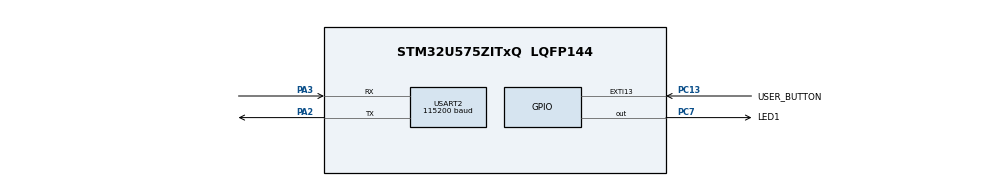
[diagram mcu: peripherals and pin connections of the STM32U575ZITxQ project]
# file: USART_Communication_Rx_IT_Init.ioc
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CORTEX_M33_NS.userName=CORTEX_M33
Mcu.Family=STM32U5
Mcu.Name=STM32U575ZITxQ
Mcu.Package=LQFP144
NVIC.EXTI13_IRQn=true\:3\:0\:true\:false\:true\:true\:true\:true
NVIC.PriorityGroup=NVIC_PRIORITYGROUP_4
NVIC.USART2_IRQn=true\:0\:0\:false\:false\:true\:true\:true\:true
PA2.GPIO_PuPd=GPIO_NOPULL
PA2.GPIO_Speed=GPIO_SPEED_FREQ_HIGH
PA2.Mode=Asynchronous
PA2.Signal=USART2_TX
PA3.GPIO_PuPd=GPIO_NOPULL
PA3.GPIO_Speed=GPIO_SPEED_FREQ_HIGH
PA3.Mode=Asynchronous
PA3.Signal=USART2_RX
PC13.GPIO_Label=USER_BUTTON
PC13.GPIO_ModeDefaultEXTI=GPIO_MODE_IT_FALLING
PC13.GPIO_PuPd=GPIO_NOPULL
PC13.Signal=GPXTI13
PC7.GPIO_Label=LED1
PC7.GPIO_PuPd=GPIO_NOPULL
PC7.Signal=GPIO_Output
PWR.PowerMode=PWR_SMPS_SUPPLY
ProjectManager.HeapSize=0x200
ProjectManager.StackSize=0x400
ProjectManager.TargetToolchain=EWARM V8.50
RCC.ADCFreq_Value=16000000
RCC.AHBFreq_Value=160000000
RCC.APB1Freq_Value=160000000
RCC.APB1TimFreq_Value=160000000
RCC.APB2Freq_Value=160000000
RCC.APB2TimFreq_Value=160000000
RCC.APB3Freq_Value=160000000
RCC.CortexFreq_Value=160000000
RCC.DACCLockSelectionVirtual=RCC_DAC1CLKSOURCE_LSI
RCC.DACCLockSelectionVirtualString=RCC_DAC1CLKSOURCE_LSI
RCC.EPOD_VALUE=4000000
RCC.HCLKFreq_Value=160000000
RCC.HSE_VALUE=16000000
RCC.HSI48_VALUE=48000000
RCC.HSI_VALUE=16000000
RCC.LSE_VALUE=32768
RCC.LSIDIV_VALUE=32000
RCC.MSI_VALUE=4000000
RCC.PLLN=80
RCC.SYSCLKFreq_VALUE=160000000
RCC.SYSCLKSource=RCC_SYSCLKSOURCE_PLLCLK
RCC.USBFreq_Value=48000000
RCC.VCOOutputFreq_Value=320000000
USART2.AutoBaudRateEnableParam=UART_ADVFEATURE_AUTOBAUDRATE_DISABLE
USART2.BaudRate=115200
USART2.ClockPrescaler=PRESCALER_DIV1
USART2.DMADisableonRxErrorParam=ADVFEATURE_DMA_ENABLEONRXERROR
USART2.DataInvertParam=ADVFEATURE_DATAINV_DISABLE
USART2.FIFOMode=FIFOMODE_DISABLE
USART2.MSBFirstParam=ADVFEATURE_MSBFIRST_DISABLE
USART2.Mode=MODE_TX_RX
USART2.OneBitSampling=UART_ONE_BIT_SAMPLE_DISABLE
USART2.OverSampling=UART_OVERSAMPLING_16
USART2.OverrunDisableParam=ADVFEATURE_OVERRUN_ENABLE
USART2.Parity=PARITY_NONE
USART2.RXFIFOThreshold=RXFIFO_THRESHOLD_1EIGHTHFULL
USART2.RxPinLevelInvertParam=ADVFEATURE_RXINV_DISABLE
USART2.StopBits=STOPBITS_1
USART2.SwapParam=ADVFEATURE_SWAP_DISABLE
USART2.TXFIFOThreshold=TXFIFO_THRESHOLD_1EIGHTHFULL
USART2.TxPinLevelInvertParam=ADVFEATURE_TXINV_DISABLE
USART2.VirtualMode-Asynchronous=VM_ASYNC
USART2.WordLength=WORDLENGTH_8B
VP_ICACHE_VS_ICACHE.Mode=DirectMappedCache
VP_LPBAMQUEUE_VS_QUEUE.Mode=QUEUEMODE
VP_LPBAM_VS_SIG1.Mode=SmartRun
VP_LPBAM_VS_SIG4.Mode=LPDMA1
VP_PWR_VS_DBSignals.Mode=DisableDeadBatterySignals
VP_PWR_VS_LPOM.Mode=PowerOptimisation
VP_PWR_VS_SECSignals.Mode=Security/Privilege
board=custom

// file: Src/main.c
/* USER CODE BEGIN Header */
/**
  ******************************************************************************
  * @file    Examples_LL/USART/USART_Communication_Rx_IT_Init/Src/main.c
  * @author  MCD Application Team
  * @brief   This example describes how to send bytes over USART IP using
  *          the STM32U5xx USART LL API.
  *          Peripheral initialization done using LL initialization function.
  ******************************************************************************
  * @attention
  *
  * Copyright (c) 2021 STMicroelectronics.
  * All rights reserved.
  *
  * This software is licensed under terms that can be found in the LICENSE file
  * in the root directory of this software component.
  * If no LICENSE file comes with this software, it is provided AS-IS.
  *
  ******************************************************************************
  */
/* USER CODE END Header */
#include "main.h"

void SystemClock_Config(void);
static void SystemPower_Config(void);
static void MX_GPIO_Init(void);
static void MX_ICACHE_Init(void);
static void MX_USART2_UART_Init(void);
/* USER CODE BEGIN PFP */
void     LED_On(void);
void     LED_Off(void);
void     LED_Blinking(uint32_t Period);
/* USER CODE END PFP */

int main(void)
{

  /* MCU Configuration--------------------------------------------------------*/

  /* Reset of all peripherals, Initializes the Flash interface and the Systick. */

  /* System interrupt init*/
  NVIC_SetPriorityGrouping(NVIC_PRIORITYGROUP_4);

  /* Enable PWR clock interface */

  LL_AHB3_GRP1_EnableClock(LL_AHB3_GRP1_PERIPH_PWR);

  /* Configure the System Power */
  SystemPower_Config();

  /* Configure the system clock */
  SystemClock_Config();

  /* Initialize all configured peripherals */
  MX_GPIO_Init();
  MX_ICACHE_Init();
  MX_USART2_UART_Init();
  /* USER CODE BEGIN 2 */
  /* Polling USART initialisation */
  while ((!(LL_USART_IsActiveFlag_TEACK(USART2))) || (!(LL_USART_IsActiveFlag_REACK(USART2))))
  {
  }
  /* Enable RXNE and Error interrupts */
  LL_USART_EnableIT_RXNE(USART2);
  LL_USART_EnableIT_ERROR(USART2);

  /* Set LED1 Off */
  LED_Off();

  /* USER CODE END 2 */

  /* Infinite loop */
  while (1)
  {

  }
}

void SystemClock_Config(void)
{
  LL_FLASH_SetLatency(LL_FLASH_LATENCY_4);
  while(LL_FLASH_GetLatency()!= LL_FLASH_LATENCY_4)
  {
  }

  LL_PWR_SetRegulVoltageScaling(LL_PWR_REGU_VOLTAGE_SCALE1);
  while (LL_PWR_IsActiveFlag_VOS() == 0)
  {
  }
  LL_RCC_MSIS_Enable();

   /* Wait till MSIS is ready */
  while(LL_RCC_MSIS_IsReady() != 1)
  {
  }

  LL_RCC_MSI_EnableRangeSelection();
  LL_RCC_MSIS_SetRange(LL_RCC_MSISRANGE_4);
  LL_RCC_MSI_SetCalibTrimming(16, LL_RCC_MSI_OSCILLATOR_1);
  LL_RCC_PLL1_ConfigDomain_SYS(LL_RCC_PLL1SOURCE_MSIS, 1, 80, 2);
  LL_RCC_PLL1_EnableDomain_SYS();
  LL_RCC_SetPll1EPodPrescaler(LL_RCC_PLL1MBOOST_DIV_1);
  LL_RCC_PLL1_SetVCOInputRange(LL_RCC_PLLINPUTRANGE_4_8);
  LL_RCC_PLL1_Enable();

   /* Wait till PLL is ready */
  while(LL_RCC_PLL1_IsReady() != 1)
  {
  }

   /* Intermediate AHB prescaler 2 when target frequency clock is higher than 80 MHz */
  LL_RCC_SetAHBPrescaler(LL_RCC_SYSCLK_DIV_2);

  LL_RCC_SetSysClkSource(LL_RCC_SYS_CLKSOURCE_PLL1);

   /* Wait till System clock is ready */
  while(LL_RCC_GetSysClkSource() != LL_RCC_SYS_CLKSOURCE_STATUS_PLL1)
  {
  }

  /* Insure 1us transition state at intermediate medium speed clock*/
  for (__IO uint32_t i = (160 >> 1); i !=0; i--);

  LL_RCC_SetAHBPrescaler(LL_RCC_SYSCLK_DIV_1);
  LL_RCC_SetAPB1Prescaler(LL_RCC_APB1_DIV_1);
  LL_RCC_SetAPB2Prescaler(LL_RCC_APB2_DIV_1);
  LL_RCC_SetAPB3Prescaler(LL_RCC_APB3_DIV_1);

  LL_Init1msTick(160000000);

  LL_SetSystemCoreClock(160000000);
}

/**
  * @brief Power Configuration
  * @retval None
  */
static void SystemPower_Config(void)
{

  /*
   * Disable the internal Pull-Up in Dead Battery pins of UCPD peripheral
   */
  LL_PWR_DisableUCPDDeadBattery();

  /*
   * Switch to SMPS regulator instead of LDO
   */
  LL_PWR_SetRegulatorSupply(LL_PWR_SMPS_SUPPLY);

  while(LL_PWR_IsActiveFlag_REGULATOR()!=1)
  {
  }
}

static void MX_ICACHE_Init(void)
{

  /** Enable instruction cache in 1-way (direct mapped cache)
  */
  LL_ICACHE_SetMode(LL_ICACHE_1WAY);
  LL_ICACHE_Enable();

}

static void MX_USART2_UART_Init(void)
{

  LL_USART_InitTypeDef USART_InitStruct = {0};

  LL_GPIO_InitTypeDef GPIO_InitStruct = {0};

  LL_RCC_SetUSARTClockSource(LL_RCC_USART2_CLKSOURCE_PCLK1);

  /* Peripheral clock enable */
  LL_APB1_GRP1_EnableClock(LL_APB1_GRP1_PERIPH_USART2);

  LL_AHB2_GRP1_EnableClock(LL_AHB2_GRP1_PERIPH_GPIOA);
  /**USART2 GPIO Configuration
  PA2   ------> USART2_TX
  PA3   ------> USART2_RX
  */
  GPIO_InitStruct.Pin = LL_GPIO_PIN_2|LL_GPIO_PIN_3;
  GPIO_InitStruct.Mode = LL_GPIO_MODE_ALTERNATE;
  GPIO_InitStruct.Speed = LL_GPIO_SPEED_FREQ_HIGH;
  GPIO_InitStruct.OutputType = LL_GPIO_OUTPUT_PUSHPULL;
  GPIO_InitStruct.Pull = LL_GPIO_PULL_NO;
  GPIO_InitStruct.Alternate = LL_GPIO_AF_7;
  LL_GPIO_Init(GPIOA, &GPIO_InitStruct);

  /* USART2 interrupt Init */
  NVIC_SetPriority(USART2_IRQn, NVIC_EncodePriority(NVIC_GetPriorityGrouping(),0, 0));
  NVIC_EnableIRQ(USART2_IRQn);

  USART_InitStruct.PrescalerValue = LL_USART_PRESCALER_DIV1;
  USART_InitStruct.BaudRate = 115200;
  USART_InitStruct.DataWidth = LL_USART_DATAWIDTH_8B;
  USART_InitStruct.StopBits = LL_USART_STOPBITS_1;
  USART_InitStruct.Parity = LL_USART_PARITY_NONE;
  USART_InitStruct.TransferDirection = LL_USART_DIRECTION_TX_RX;
  USART_InitStruct.HardwareFlowControl = LL_USART_HWCONTROL_NONE;
  USART_InitStruct.OverSampling = LL_USART_OVERSAMPLING_16;
  LL_USART_Init(USART2, &USART_InitStruct);
  LL_USART_SetTXFIFOThreshold(USART2, LL_USART_FIFOTHRESHOLD_1_8);
  LL_USART_SetRXFIFOThreshold(USART2, LL_USART_FIFOTHRESHOLD_1_8);
  LL_USART_DisableFIFO(USART2);
  LL_USART_ConfigAsyncMode(USART2);
  LL_USART_Enable(USART2);

}

static void MX_GPIO_Init(void)
{
  LL_EXTI_InitTypeDef EXTI_InitStruct = {0};
  LL_GPIO_InitTypeDef GPIO_InitStruct = {0};

  /* GPIO Ports Clock Enable */
  LL_AHB2_GRP1_EnableClock(LL_AHB2_GRP1_PERIPH_GPIOC);
  LL_AHB2_GRP1_EnableClock(LL_AHB2_GRP1_PERIPH_GPIOA);

  /**/
  LL_GPIO_ResetOutputPin(LED1_GPIO_Port, LED1_Pin);

  /**/
  LL_EXTI_SetEXTISource(LL_EXTI_EXTI_PORTC, LL_EXTI_EXTI_LINE13);

  /**/
  EXTI_InitStruct.Line_0_31 = LL_EXTI_LINE_13;
  EXTI_InitStruct.LineCommand = ENABLE;
  EXTI_InitStruct.Mode = LL_EXTI_MODE_IT;
  EXTI_InitStruct.Trigger = LL_EXTI_TRIGGER_FALLING;
  LL_EXTI_Init(&EXTI_InitStruct);

  /**/
  LL_GPIO_SetPinPull(USER_BUTTON_GPIO_Port, USER_BUTTON_Pin, LL_GPIO_PULL_NO);

  /**/
  LL_GPIO_SetPinMode(USER_BUTTON_GPIO_Port, USER_BUTTON_Pin, LL_GPIO_MODE_INPUT);

  /**/
  GPIO_InitStruct.Pin = LED1_Pin;
  GPIO_InitStruct.Mode = LL_GPIO_MODE_OUTPUT;
  GPIO_InitStruct.Speed = LL_GPIO_SPEED_FREQ_LOW;
  GPIO_InitStruct.OutputType = LL_GPIO_OUTPUT_PUSHPULL;
  GPIO_InitStruct.Pull = LL_GPIO_PULL_NO;
  LL_GPIO_Init(LED1_GPIO_Port, &GPIO_InitStruct);

  /* EXTI interrupt init*/
  NVIC_SetPriority(EXTI13_IRQn, NVIC_EncodePriority(NVIC_GetPriorityGrouping(),3, 0));
  NVIC_EnableIRQ(EXTI13_IRQn);

}

/* USER CODE BEGIN 4 */

/**
  * @brief  Turn-on LED1.
  * @param  None
  * @retval None
  */
void LED_On(void)
{
  /* Turn LED1 on */
  LL_GPIO_SetOutputPin(LED1_GPIO_Port, LED1_Pin);
}

/**
  * @brief  Turn-off LED1.
  * @param  None
  * @retval None
  */
void LED_Off(void)
{
  /* Turn LED1 off */
  LL_GPIO_ResetOutputPin(LED1_GPIO_Port, LED1_Pin);
}

/**
  * @brief  Set LED1 to Blinking mode for an infinite loop (toggle period based on value provided as input parameter).
  * @param  Period : Period of time (in ms) between each toggling of LED
  *   This parameter can be user defined values. Pre-defined values used in that example are :
  *     @arg LED_BLINK_FAST : Fast Blinking
  *     @arg LED_BLINK_SLOW : Slow Blinking
  *     @arg LED_BLINK_ERROR : Error specific Blinking
  * @retval None
  */
void LED_Blinking(uint32_t Period)
{
  /* Toggle LED1 in an infinite loop */
  while (1)
  {
    LL_GPIO_TogglePin(LED1_GPIO_Port, LED1_Pin);
    LL_mDelay(Period);
  }
}

/******************************************************************************/
/*   USER IRQ HANDLER TREATMENT Functions                                     */
/******************************************************************************/
/**
  * @brief  Function to manage User push-button
  * @param  None
  * @retval None
  */
void UserButton_Callback(void)
{
  /* Turn LED1 Off on User button press (allow to restart sequence) */
  LED_Off();
}

/**
  * @brief  Function called from USART IRQ Handler when RXNE flag is set
  *         Function is in charge of reading character received on USART RX line.
  * @param  None
  * @retval None
  */
void USART_CharReception_Callback(void)
{
  __IO uint32_t received_char;

  /* Read Received character. RXNE flag is cleared by reading of RDR register */
  received_char = LL_USART_ReceiveData8(USART2);

  /* Check if received value is corresponding to specific one : S or s */
  if ((received_char == 'S') || (received_char == 's'))
  {
    /* Turn LED1 On : Expected character has been received */
    LED_On();
  }

  /* Echo received character on TX */
  LL_USART_TransmitData8(USART2, received_char);
}

/**
  * @brief  Function called in case of error detected in USART IT Handler
  * @param  None
  * @retval None
  */
void Error_Callback(void)
{
  __IO uint32_t isr_reg;

  /* Disable USARTx_IRQn */
  NVIC_DisableIRQ(USART2_IRQn);

  /* Error handling example :
    - Read USART ISR register to identify flag that leads to IT raising
    - Perform corresponding error handling treatment according to flag
  */
  isr_reg = LL_USART_ReadReg(USART2, ISR);
  if (isr_reg & LL_USART_ISR_NE)
  {
    /* case Noise Error flag is raised : ... */
    LED_Blinking(LED_BLINK_FAST);
  }
  else
  {
    /* Unexpected IT source : Set LED to Blinking mode to indicate error occurs */
    LED_Blinking(LED_BLINK_ERROR);
  }
}

/* USER CODE END 4 */

void Error_Handler(void)
{
}
